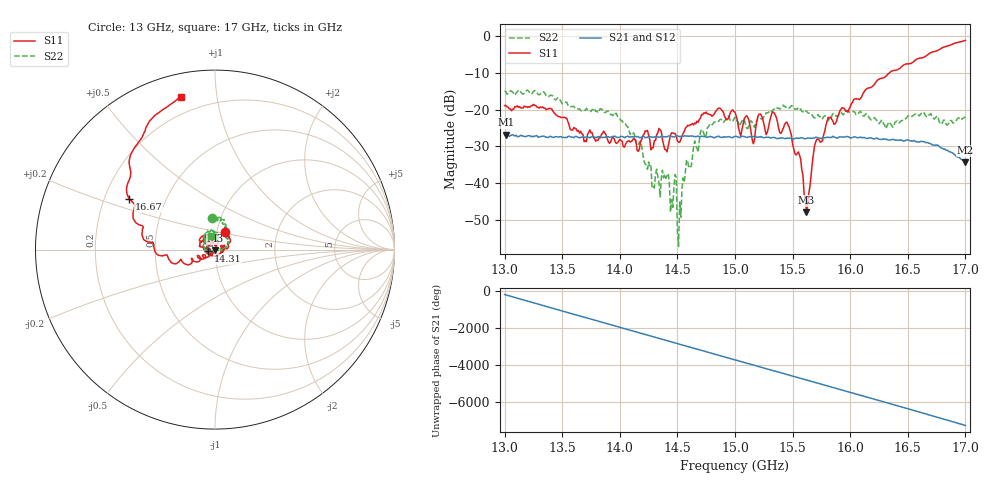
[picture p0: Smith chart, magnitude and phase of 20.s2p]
!Keysight Technologies,P9374A,MY57211807,A.19.30.04
!Date: Friday, May 01, 2026 14:44:35
!Correction: S11(C  2-Port  )
!S21(C  2-Port  )
!S12(C  2-Port  )
!S22(C  2-Port  )
!S2P File: Measurements: S11, S21, S12, S22:
# Hz S  RI  R 50
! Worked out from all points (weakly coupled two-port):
!   401 points, 13 GHz to 17 GHz, reference 50 ohm
!   highest |S21| = -26.82 dB at 13.01 GHz (marker M1); lowest = -34.4 dB at 17 GHz (marker M2)
!   lowest |S11| = -48.0 dB at 15.62 GHz (marker M3), VSWR 1.01, Z = 50 - j0.396 ohm
!   |S11| at or under -10 dB: start of sweep to 16.34 GHz
!   |S22| runs from -57.3 to -14.7 dB; largest |S21 - S12| = 0.0023
!   S11 on the Smith chart (normalised r, x): 13 GHz: 1.09, +0.22; 14.31 GHz: 0.93, -0.01; 16.67 GHz: 0.31, +0.25; 17 GHz: 0.11, +0.80
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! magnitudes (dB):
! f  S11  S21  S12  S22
! 13 GHz  -18.9  -26.9  -26.9  -14.9
! 13.01 GHz  -18.9  -26.8  -26.9  -15.1
! 13.39 GHz  -19.7  -27.3  -27.4  -16.3
! 13.67 GHz  -26.6  -27.5  -27.4  -20.4
! 13.97 GHz  -29.3  -27.5  -27.4  -21.1
! 14.31 GHz  -28.4  -27.4  -27.6  -37.7
! 14.34 GHz  -25.1  -27.6  -27.4  -40.1
! 14.41 GHz  -31.5  -27.5  -27.4  -37.8
! 14.52 GHz  -28.9  -27.4  -27.4  -45.2
! 14.57 GHz  -25.1  -27.2  -27.2  -36.8
! 14.71 GHz  -21.3  -27.2  -27.3  -25.4
! 15 GHz  -20.7  -27.3  -27.3  -22.1
! 15.16 GHz  -29.3  -27.3  -27.4  -24.1
! 15.22 GHz  -21.2  -27.5  -27.5  -22.4
! 15.46 GHz  -24.2  -27.9  -27.9  -19.8
! 15.57 GHz  -33.5  -27.7  -27.7  -19.9
! 15.62 GHz  -48.0  -27.9  -27.9  -20.4
! 15.67 GHz  -34.8  -27.8  -27.8  -21.5
! 15.81 GHz  -22.1  -27.6  -27.5  -23.0
! 16.34 GHz  -10.0  -28.3  -28.3  -23.4
! 16.67 GHz  -5.1  -28.9  -28.9  -22.0
! 17 GHz  -1.2  -34.4  -34.4  -22.0
